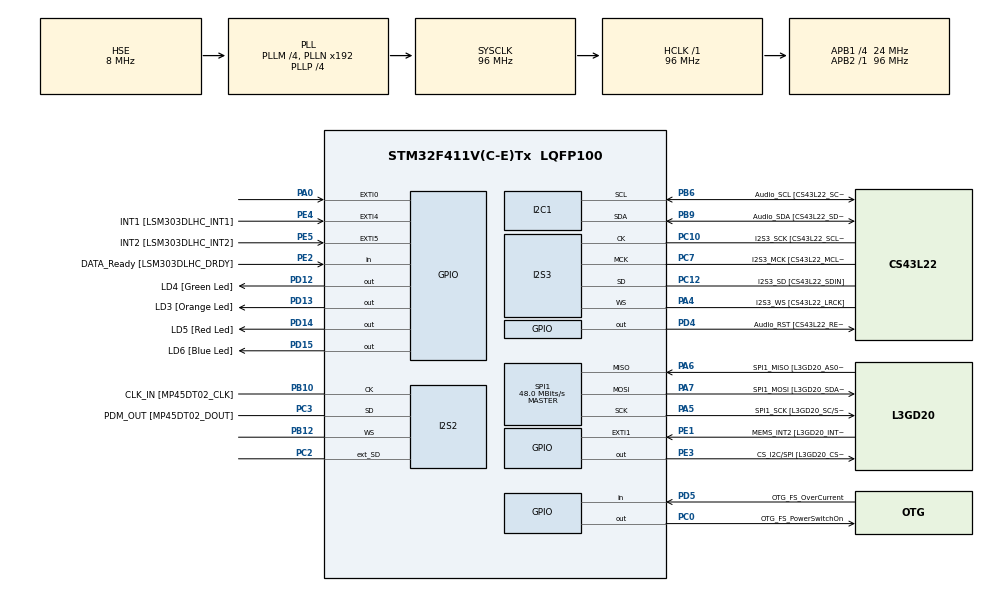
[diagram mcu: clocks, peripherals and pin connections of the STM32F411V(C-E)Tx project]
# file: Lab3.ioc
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FREERTOS.INCLUDE_vTaskDelayUntil=1
FREERTOS.Tasks01=FlashGreenLedTa,0,128,StartFlashGreenLedTask,Default,NULL,Dynamic,NULL,NULL;FlashRedLedTask,1,128,StartFlashRedLedTask,Default,NULL,Dynamic,NULL,NULL
I2S2.AudioFreq=I2S_AUDIOFREQ_96K
I2S2.ErrorAudioFreq=0.15 %
I2S2.FullDuplexMode=I2S_FULLDUPLEXMODE_ENABLE
I2S2.Instance=SPI$Index
I2S2.RealAudioFreq=96.153 KHz
I2S2.VirtualMode=I2S_MODE_MASTER
I2S3.AudioFreq=I2S_AUDIOFREQ_96K
I2S3.ErrorAudioFreq=-6.99 %
I2S3.FullDuplexMode=I2S_FULLDUPLEXMODE_DISABLE
I2S3.Instance=SPI$Index
I2S3.RealAudioFreq=89.285 KHz
I2S3.VirtualMode=I2S_MODE_MASTER
Mcu.Family=STM32F4
Mcu.Name=STM32F411V(C-E)Tx
Mcu.Package=LQFP100
NVIC.PriorityGroup=NVIC_PRIORITYGROUP_4
NVIC.TIM1_UP_TIM10_IRQn=true\:15\:0\:false\:false\:true\:false\:false\:true\:true
NVIC.TimeBase=TIM1_UP_TIM10_IRQn
NVIC.TimeBaseIP=TIM1
PA0-WKUP.GPIO_ModeDefaultEXTI=GPIO_MODE_EVT_RISING
PA0-WKUP.Signal=GPXTI0
PA10.GPIO_Label=OTG_FS_ID
PA10.Signal=USB_OTG_FS_ID
PA11.GPIO_Label=OTG_FS_DM
PA11.Signal=USB_OTG_FS_DM
PA12.GPIO_Label=OTG_FS_DP
PA12.Signal=USB_OTG_FS_DP
PA13.GPIO_Label=SWDIO
PA13.Mode=Serial_Wire
PA13.Signal=SYS_JTMS-SWDIO
PA14.GPIO_Label=SWCLK
PA14.Mode=Serial_Wire
PA14.Signal=SYS_JTCK-SWCLK
PA4.GPIO_Label=I2S3_WS [CS43L22_LRCK]
PA4.GPIO_Mode=GPIO_MODE_AF_PP
PA4.GPIO_PuPd=GPIO_NOPULL
PA4.GPIO_Speed=GPIO_SPEED_FREQ_LOW
PA4.Mode=Half_Duplex_Master
PA4.Signal=I2S3_WS
PA5.GPIO_Label=SPI1_SCK [L3GD20_SC/SPC]
PA5.Mode=Full_Duplex_Master
PA5.Signal=SPI1_SCK
PA6.GPIO_Label=SPI1_MISO [L3GD20_AS0/SDO]
PA6.Mode=Full_Duplex_Master
PA6.Signal=SPI1_MISO
PA7.GPIO_Label=SPI1_MOSI [L3GD20_SDA/SDI/SDO]
PA7.Mode=Full_Duplex_Master
PA7.Signal=SPI1_MOSI
PA9.GPIO_Label=VBUS_FS
PA9.Signal=USB_OTG_FS_VBUS
PB10.GPIO_Label=CLK_IN [MP45DT02_CLK]
PB10.Mode=Full_Duplex_Master
PB10.Signal=I2S2_CK
PB12.Mode=Full_Duplex_Master
PB12.Signal=I2S2_WS
PB3.GPIO_Label=SWO
PB3.Signal=SYS_JTDO-SWO
PB6.GPIO_Label=Audio_SCL [CS43L22_SCL]
PB6.GPIO_Mode=GPIO_MODE_AF_OD
PB6.GPIO_Pu=GPIO_PULLUP
PB6.GPIO_PuPd=GPIO_NOPULL
PB6.GPIO_Speed=GPIO_SPEED_FREQ_LOW
PB6.Mode=I2C
PB6.Signal=I2C1_SCL
PB9.GPIO_Label=Audio_SDA [CS43L22_SDA]
PB9.GPIO_Mode=GPIO_MODE_AF_OD
PB9.GPIO_Pu=GPIO_PULLUP
PB9.GPIO_PuPd=GPIO_NOPULL
PB9.GPIO_Speed=GPIO_SPEED_FREQ_LOW
PB9.Mode=I2C
PB9.Signal=I2C1_SDA
PC0.GPIO_Label=OTG_FS_PowerSwitchOn
PC0.PinState=GPIO_PIN_SET
PC0.Signal=GPIO_Output
PC10.GPIO_Label=I2S3_SCK [CS43L22_SCLK]
PC10.GPIO_Mode=GPIO_MODE_AF_PP
PC10.GPIO_PuPd=GPIO_NOPULL
PC10.GPIO_Speed=GPIO_SPEED_FREQ_LOW
PC10.Mode=Half_Duplex_Master
PC10.Signal=I2S3_CK
PC12.GPIO_Label=I2S3_SD [CS43L22_SDIN]
PC12.GPIO_Mode=GPIO_MODE_AF_PP
PC12.GPIO_PuPd=GPIO_NOPULL
PC12.GPIO_Speed=GPIO_SPEED_FREQ_LOW
PC12.Mode=Half_Duplex_Master
PC12.Signal=I2S3_SD
PC14-OSC32_IN.GPIO_Label=PC14-OSC32_IN
PC14-OSC32_IN.Mode=LSE-External-Oscillator
PC14-OSC32_IN.Signal=RCC_OSC32_IN
PC15-OSC32_OUT.GPIO_Label=PC15-OSC32_OUT
PC15-OSC32_OUT.Mode=LSE-External-Oscillator
PC15-OSC32_OUT.Signal=RCC_OSC32_OUT
PC2.Mode=Full_Duplex_Master
PC2.Signal=I2S2_ext_SD
PC3.GPIO_Label=PDM_OUT [MP45DT02_DOUT]
PC3.Mode=Full_Duplex_Master
PC3.Signal=I2S2_SD
PC7.GPIO_Label=I2S3_MCK [CS43L22_MCLK]
PC7.GPIO_Mode=GPIO_MODE_AF_PP
PC7.GPIO_PuPd=GPIO_NOPULL
PC7.GPIO_Speed=GPIO_SPEED_FREQ_LOW
PC7.Mode=Master_Clock_Activated
PC7.Signal=I2S3_MCK
PD12.GPIO_Label=LD4 [Green Led]
PD12.GPIO_PuPd=GPIO_NOPULL
PD12.GPIO_Speed=GPIO_SPEED_FREQ_LOW
PD12.Signal=GPIO_Output
PD13.GPIO_Label=LD3 [Orange Led]
PD13.GPIO_PuPd=GPIO_NOPULL
PD13.GPIO_Speed=GPIO_SPEED_FREQ_LOW
PD13.Signal=GPIO_Output
PD14.GPIO_Label=LD5 [Red Led]
PD14.GPIO_PuPd=GPIO_NOPULL
PD14.GPIO_Speed=GPIO_SPEED_FREQ_LOW
PD14.Signal=GPIO_Output
PD15.GPIO_Label=LD6 [Blue Led]
PD15.GPIO_PuPd=GPIO_NOPULL
PD15.GPIO_Speed=GPIO_SPEED_FREQ_LOW
PD15.Signal=GPIO_Output
PD4.GPIO_Label=Audio_RST [CS43L22_RESET]
PD4.Signal=GPIO_Output
PD5.GPIO_Label=OTG_FS_OverCurrent
PD5.Signal=GPIO_Input
PE1.GPIO_Label=MEMS_INT2 [L3GD20_INT2]
PE1.GPIO_ModeDefaultEXTI=GPIO_MODE_EVT_RISING
PE1.Signal=GPXTI1
PE2.GPIO_Label=DATA_Ready [LSM303DLHC_DRDY]
PE2.Signal=GPIO_Input
PE3.GPIO_Label=CS_I2C/SPI [L3GD20_CS_I2C/SPI]
PE3.Signal=GPIO_Output
PE4.GPIO_Label=INT1 [LSM303DLHC_INT1]
PE4.GPIO_ModeDefaultEXTI=GPIO_MODE_EVT_RISING
PE4.Signal=GPXTI4
PE5.GPIO_Label=INT2 [LSM303DLHC_INT2]
PE5.GPIO_ModeDefaultEXTI=GPIO_MODE_EVT_RISING
PE5.Signal=GPXTI5
PH0\ -\ OSC_IN.GPIO_Label=PH0-OSC_IN
PH0\ -\ OSC_IN.Mode=HSE-External-Oscillator
PH0\ -\ OSC_IN.Signal=RCC_OSC_IN
PH1\ -\ OSC_OUT.GPIO_Label=PH1-OSC_OUT
PH1\ -\ OSC_OUT.Mode=HSE-External-Oscillator
PH1\ -\ OSC_OUT.Signal=RCC_OSC_OUT
ProjectManager.HeapSize=0x200
ProjectManager.StackSize=0x400
ProjectManager.TargetToolchain=STM32CubeIDE
RCC.48MHZClocksFreq_Value=48000000
RCC.AHBFreq_Value=96000000
RCC.APB1CLKDivider=RCC_HCLK_DIV4
RCC.APB1Freq_Value=24000000
RCC.APB1TimFreq_Value=48000000
RCC.APB2Freq_Value=96000000
RCC.APB2TimFreq_Value=96000000
RCC.CortexFreq_Value=96000000
RCC.HCLKFreq_Value=96000000
RCC.HSE_VALUE=8000000
RCC.HSI_VALUE=16000000
RCC.PLLI2SM=5
RCC.PLLI2SN=200
RCC.PLLM=4
RCC.PLLP=RCC_PLLP_DIV4
RCC.PLLQ=8
RCC.PLLSourceVirtual=RCC_PLLSOURCE_HSE
RCC.SYSCLKFreq_VALUE=96000000
RCC.SYSCLKSource=RCC_SYSCLKSOURCE_PLLCLK
RCC.VCOOutputFreq_Value=384000000
SPI1.BaudRatePrescaler=SPI_BAUDRATEPRESCALER_2
SPI1.CalculateBaudRate=48.0 MBits/s
SPI1.Direction=SPI_DIRECTION_2LINES
SPI1.Mode=SPI_MODE_MASTER
SPI1.VirtualType=VM_MASTER
VP_FREERTOS_VS_CMSIS_V1.Mode=CMSIS_V1
VP_SYS_VS_tim1.Mode=TIM1
board=STM32F411E-DISCO

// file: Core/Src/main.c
/* USER CODE BEGIN Header */
/**
  ******************************************************************************
  * @file           : main.c
  * @brief          : Main program body
  ******************************************************************************
  * @attention
  *
  * Copyright (c) 2024 STMicroelectronics.
  * All rights reserved.
  *
  * This software is licensed under terms that can be found in the LICENSE file
  * in the root directory of this software component.
  * If no LICENSE file comes with this software, it is provided AS-IS.
  *
  ******************************************************************************
  */
/* USER CODE END Header */
#include "main.h"
#include "cmsis_os.h"

/* USER CODE BEGIN PD */
#define GREEN_LED GPIO_PIN_12
#define ORANGE_LED GPIO_PIN_13
#define RED_LED GPIO_PIN_14
#define BLUE_LED GPIO_PIN_15
/* USER CODE END PD */

I2C_HandleTypeDef hi2c1;

I2S_HandleTypeDef hi2s2;
I2S_HandleTypeDef hi2s3;

SPI_HandleTypeDef hspi1;

osThreadId FlashGreenLedTaHandle;
osThreadId FlashRedLedTaskHandle;

void SystemClock_Config(void);
void PeriphCommonClock_Config(void);
static void MX_GPIO_Init(void);
static void MX_I2C1_Init(void);
static void MX_I2S2_Init(void);
static void MX_I2S3_Init(void);
static void MX_SPI1_Init(void);
void StartFlashGreenLedTask(void const * argument);
void StartFlashRedLedTask(void const * argument);

int main(void)
{

  /* MCU Configuration--------------------------------------------------------*/

  /* Reset of all peripherals, Initializes the Flash interface and the Systick. */
  HAL_Init();

  /* Configure the system clock */
  SystemClock_Config();

/* Configure the peripherals common clocks */
  PeriphCommonClock_Config();

  /* Initialize all configured peripherals */
  MX_GPIO_Init();
  MX_I2C1_Init();
  MX_I2S2_Init();
  MX_I2S3_Init();
  MX_SPI1_Init();

  /* Create the thread(s) */
  /* definition and creation of FlashGreenLedTa */
  osThreadDef(FlashGreenLedTa, StartFlashGreenLedTask, osPriorityNormal, 0, 128);
  FlashGreenLedTaHandle = osThreadCreate(osThread(FlashGreenLedTa), NULL);

  /* definition and creation of FlashRedLedTask */
  osThreadDef(FlashRedLedTask, StartFlashRedLedTask, osPriorityAboveNormal, 0, 128);
  FlashRedLedTaskHandle = osThreadCreate(osThread(FlashRedLedTask), NULL);

  /* Start scheduler */
  osKernelStart();

  /* We should never get here as control is now taken by the scheduler */
  /* Infinite loop */
  while (1)
  {

  }
}

void SystemClock_Config(void)
{
  RCC_OscInitTypeDef RCC_OscInitStruct = {0};
  RCC_ClkInitTypeDef RCC_ClkInitStruct = {0};

  /** Configure the main internal regulator output voltage
  */
  __HAL_RCC_PWR_CLK_ENABLE();
  __HAL_PWR_VOLTAGESCALING_CONFIG(PWR_REGULATOR_VOLTAGE_SCALE1);

  /** Initializes the RCC Oscillators according to the specified parameters
  * in the RCC_OscInitTypeDef structure.
  */
  RCC_OscInitStruct.OscillatorType = RCC_OSCILLATORTYPE_HSE;
  RCC_OscInitStruct.HSEState = RCC_HSE_ON;
  RCC_OscInitStruct.PLL.PLLState = RCC_PLL_ON;
  RCC_OscInitStruct.PLL.PLLSource = RCC_PLLSOURCE_HSE;
  RCC_OscInitStruct.PLL.PLLM = 4;
  RCC_OscInitStruct.PLL.PLLN = 192;
  RCC_OscInitStruct.PLL.PLLP = RCC_PLLP_DIV4;
  RCC_OscInitStruct.PLL.PLLQ = 8;
  if (HAL_RCC_OscConfig(&RCC_OscInitStruct) != HAL_OK)
  {
    Error_Handler();
  }

  /** Initializes the CPU, AHB and APB buses clocks
  */
  RCC_ClkInitStruct.ClockType = RCC_CLOCKTYPE_HCLK|RCC_CLOCKTYPE_SYSCLK
                              |RCC_CLOCKTYPE_PCLK1|RCC_CLOCKTYPE_PCLK2;
  RCC_ClkInitStruct.SYSCLKSource = RCC_SYSCLKSOURCE_PLLCLK;
  RCC_ClkInitStruct.AHBCLKDivider = RCC_SYSCLK_DIV1;
  RCC_ClkInitStruct.APB1CLKDivider = RCC_HCLK_DIV4;
  RCC_ClkInitStruct.APB2CLKDivider = RCC_HCLK_DIV1;

  if (HAL_RCC_ClockConfig(&RCC_ClkInitStruct, FLASH_LATENCY_3) != HAL_OK)
  {
    Error_Handler();
  }
}

void PeriphCommonClock_Config(void)
{
  RCC_PeriphCLKInitTypeDef PeriphClkInitStruct = {0};

  /** Initializes the peripherals clock
  */
  PeriphClkInitStruct.PeriphClockSelection = RCC_PERIPHCLK_I2S;
  PeriphClkInitStruct.PLLI2S.PLLI2SN = 200;
  PeriphClkInitStruct.PLLI2S.PLLI2SM = 5;
  PeriphClkInitStruct.PLLI2S.PLLI2SR = 2;
  if (HAL_RCCEx_PeriphCLKConfig(&PeriphClkInitStruct) != HAL_OK)
  {
    Error_Handler();
  }
}

static void MX_I2C1_Init(void)
{

  hi2c1.Instance = I2C1;
  hi2c1.Init.ClockSpeed = 100000;
  hi2c1.Init.DutyCycle = I2C_DUTYCYCLE_2;
  hi2c1.Init.OwnAddress1 = 0;
  hi2c1.Init.AddressingMode = I2C_ADDRESSINGMODE_7BIT;
  hi2c1.Init.DualAddressMode = I2C_DUALADDRESS_DISABLE;
  hi2c1.Init.OwnAddress2 = 0;
  hi2c1.Init.GeneralCallMode = I2C_GENERALCALL_DISABLE;
  hi2c1.Init.NoStretchMode = I2C_NOSTRETCH_DISABLE;
  if (HAL_I2C_Init(&hi2c1) != HAL_OK)
  {
    Error_Handler();
  }

}

static void MX_I2S2_Init(void)
{

  hi2s2.Instance = SPI2;
  hi2s2.Init.Mode = I2S_MODE_MASTER_TX;
  hi2s2.Init.Standard = I2S_STANDARD_PHILIPS;
  hi2s2.Init.DataFormat = I2S_DATAFORMAT_16B;
  hi2s2.Init.MCLKOutput = I2S_MCLKOUTPUT_DISABLE;
  hi2s2.Init.AudioFreq = I2S_AUDIOFREQ_96K;
  hi2s2.Init.CPOL = I2S_CPOL_LOW;
  hi2s2.Init.ClockSource = I2S_CLOCK_PLL;
  hi2s2.Init.FullDuplexMode = I2S_FULLDUPLEXMODE_ENABLE;
  if (HAL_I2S_Init(&hi2s2) != HAL_OK)
  {
    Error_Handler();
  }

}

static void MX_I2S3_Init(void)
{

  hi2s3.Instance = SPI3;
  hi2s3.Init.Mode = I2S_MODE_MASTER_TX;
  hi2s3.Init.Standard = I2S_STANDARD_PHILIPS;
  hi2s3.Init.DataFormat = I2S_DATAFORMAT_16B;
  hi2s3.Init.MCLKOutput = I2S_MCLKOUTPUT_ENABLE;
  hi2s3.Init.AudioFreq = I2S_AUDIOFREQ_96K;
  hi2s3.Init.CPOL = I2S_CPOL_LOW;
  hi2s3.Init.ClockSource = I2S_CLOCK_PLL;
  hi2s3.Init.FullDuplexMode = I2S_FULLDUPLEXMODE_DISABLE;
  if (HAL_I2S_Init(&hi2s3) != HAL_OK)
  {
    Error_Handler();
  }

}

static void MX_SPI1_Init(void)
{

  /* SPI1 parameter configuration*/
  hspi1.Instance = SPI1;
  hspi1.Init.Mode = SPI_MODE_MASTER;
  hspi1.Init.Direction = SPI_DIRECTION_2LINES;
  hspi1.Init.DataSize = SPI_DATASIZE_8BIT;
  hspi1.Init.CLKPolarity = SPI_POLARITY_LOW;
  hspi1.Init.CLKPhase = SPI_PHASE_1EDGE;
  hspi1.Init.NSS = SPI_NSS_SOFT;
  hspi1.Init.BaudRatePrescaler = SPI_BAUDRATEPRESCALER_2;
  hspi1.Init.FirstBit = SPI_FIRSTBIT_MSB;
  hspi1.Init.TIMode = SPI_TIMODE_DISABLE;
  hspi1.Init.CRCCalculation = SPI_CRCCALCULATION_DISABLE;
  hspi1.Init.CRCPolynomial = 10;
  if (HAL_SPI_Init(&hspi1) != HAL_OK)
  {
    Error_Handler();
  }

}

static void MX_GPIO_Init(void)
{
  GPIO_InitTypeDef GPIO_InitStruct = {0};

  /* GPIO Ports Clock Enable */
  __HAL_RCC_GPIOE_CLK_ENABLE();
  __HAL_RCC_GPIOC_CLK_ENABLE();
  __HAL_RCC_GPIOH_CLK_ENABLE();
  __HAL_RCC_GPIOA_CLK_ENABLE();
  __HAL_RCC_GPIOB_CLK_ENABLE();
  __HAL_RCC_GPIOD_CLK_ENABLE();

  /*Configure GPIO pin Output Level */
  HAL_GPIO_WritePin(CS_I2C_SPI_GPIO_Port, CS_I2C_SPI_Pin, GPIO_PIN_RESET);

  /*Configure GPIO pin Output Level */
  HAL_GPIO_WritePin(OTG_FS_PowerSwitchOn_GPIO_Port, OTG_FS_PowerSwitchOn_Pin, GPIO_PIN_SET);

  /*Configure GPIO pin Output Level */
  HAL_GPIO_WritePin(GPIOD, LD4_Pin|LD3_Pin|LD5_Pin|LD6_Pin
                          |Audio_RST_Pin, GPIO_PIN_RESET);

  /*Configure GPIO pin : DATA_Ready_Pin */
  GPIO_InitStruct.Pin = DATA_Ready_Pin;
  GPIO_InitStruct.Mode = GPIO_MODE_INPUT;
  GPIO_InitStruct.Pull = GPIO_NOPULL;
  HAL_GPIO_Init(DATA_Ready_GPIO_Port, &GPIO_InitStruct);

  /*Configure GPIO pin : CS_I2C_SPI_Pin */
  GPIO_InitStruct.Pin = CS_I2C_SPI_Pin;
  GPIO_InitStruct.Mode = GPIO_MODE_OUTPUT_PP;
  GPIO_InitStruct.Pull = GPIO_NOPULL;
  GPIO_InitStruct.Speed = GPIO_SPEED_FREQ_LOW;
  HAL_GPIO_Init(CS_I2C_SPI_GPIO_Port, &GPIO_InitStruct);

  /*Configure GPIO pins : INT1_Pin INT2_Pin MEMS_INT2_Pin */
  GPIO_InitStruct.Pin = INT1_Pin|INT2_Pin|MEMS_INT2_Pin;
  GPIO_InitStruct.Mode = GPIO_MODE_EVT_RISING;
  GPIO_InitStruct.Pull = GPIO_NOPULL;
  HAL_GPIO_Init(GPIOE, &GPIO_InitStruct);

  /*Configure GPIO pin : OTG_FS_PowerSwitchOn_Pin */
  GPIO_InitStruct.Pin = OTG_FS_PowerSwitchOn_Pin;
  GPIO_InitStruct.Mode = GPIO_MODE_OUTPUT_PP;
  GPIO_InitStruct.Pull = GPIO_NOPULL;
  GPIO_InitStruct.Speed = GPIO_SPEED_FREQ_LOW;
  HAL_GPIO_Init(OTG_FS_PowerSwitchOn_GPIO_Port, &GPIO_InitStruct);

  /*Configure GPIO pin : PA0 */
  GPIO_InitStruct.Pin = GPIO_PIN_0;
  GPIO_InitStruct.Mode = GPIO_MODE_EVT_RISING;
  GPIO_InitStruct.Pull = GPIO_NOPULL;
  HAL_GPIO_Init(GPIOA, &GPIO_InitStruct);

  /*Configure GPIO pins : LD4_Pin LD3_Pin LD5_Pin LD6_Pin
                           Audio_RST_Pin */
  GPIO_InitStruct.Pin = LD4_Pin|LD3_Pin|LD5_Pin|LD6_Pin
                          |Audio_RST_Pin;
  GPIO_InitStruct.Mode = GPIO_MODE_OUTPUT_PP;
  GPIO_InitStruct.Pull = GPIO_NOPULL;
  GPIO_InitStruct.Speed = GPIO_SPEED_FREQ_LOW;
  HAL_GPIO_Init(GPIOD, &GPIO_InitStruct);

  /*Configure GPIO pin : VBUS_FS_Pin */
  GPIO_InitStruct.Pin = VBUS_FS_Pin;
  GPIO_InitStruct.Mode = GPIO_MODE_INPUT;
  GPIO_InitStruct.Pull = GPIO_NOPULL;
  HAL_GPIO_Init(VBUS_FS_GPIO_Port, &GPIO_InitStruct);

  /*Configure GPIO pins : OTG_FS_ID_Pin OTG_FS_DM_Pin OTG_FS_DP_Pin */
  GPIO_InitStruct.Pin = OTG_FS_ID_Pin|OTG_FS_DM_Pin|OTG_FS_DP_Pin;
  GPIO_InitStruct.Mode = GPIO_MODE_AF_PP;
  GPIO_InitStruct.Pull = GPIO_NOPULL;
  GPIO_InitStruct.Speed = GPIO_SPEED_FREQ_VERY_HIGH;
  GPIO_InitStruct.Alternate = GPIO_AF10_OTG_FS;
  HAL_GPIO_Init(GPIOA, &GPIO_InitStruct);

  /*Configure GPIO pin : OTG_FS_OverCurrent_Pin */
  GPIO_InitStruct.Pin = OTG_FS_OverCurrent_Pin;
  GPIO_InitStruct.Mode = GPIO_MODE_INPUT;
  GPIO_InitStruct.Pull = GPIO_NOPULL;
  HAL_GPIO_Init(OTG_FS_OverCurrent_GPIO_Port, &GPIO_InitStruct);

}

/* USER CODE BEGIN 4 */
int Start_Flag = 1;
void Access_Function(){
	if(Start_Flag == 1){
		Start_Flag = 0;
	}else {
		HAL_GPIO_TogglePin(GPIOD, BLUE_LED);
	}//else
	for(int i=0;i<2000000;++i);
	Start_Flag = 2;
	return;
}//access function
/* USER CODE END 4 */

void StartFlashGreenLedTask(void const * argument)
{
  /* USER CODE BEGIN 5 */
  /* Infinite loop */
  for(;;)
  {
	  /*Exercise 5*/
	  HAL_GPIO_TogglePin(GPIOD, GREEN_LED);//green on
	  Access_Function();
	  HAL_GPIO_TogglePin(GPIOD, GREEN_LED);//green off
	  osDelay(500);//0.5 second delay
	  /**/
  }
  /* USER CODE END 5 */
}

void StartFlashRedLedTask(void const * argument)
{
  /* USER CODE BEGIN StartFlashRedLedTask */
  /* Infinite loop */
  for(;;)
  {
	  /*Exercise 5*/
	  HAL_GPIO_TogglePin(GPIOD, RED_LED);//red on
	  Access_Function();
	  HAL_GPIO_TogglePin(GPIOD, RED_LED);//red off
	  osDelay(100);//0.5 second delay
	  /**/
  }
  /* USER CODE END StartFlashRedLedTask */
}

void HAL_TIM_PeriodElapsedCallback(TIM_HandleTypeDef *htim)
{
  if (htim->Instance == TIM1) {
    HAL_IncTick();
  }
}

void Error_Handler(void)
{
  __disable_irq();
  while (1)
  {
  }
}
